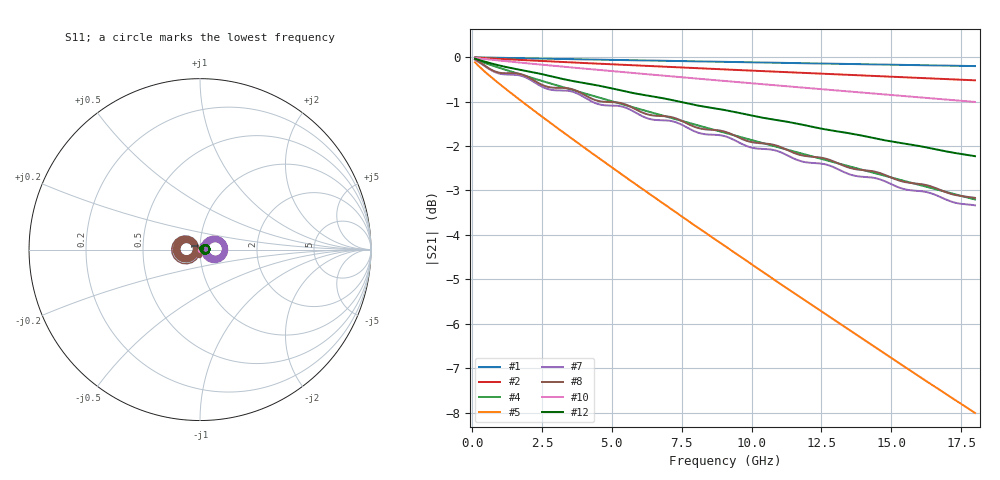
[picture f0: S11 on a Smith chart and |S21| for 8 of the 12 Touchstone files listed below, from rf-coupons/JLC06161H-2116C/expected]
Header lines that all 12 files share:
! stackup JLC06161H-2116C, nominal parameters; reference planes 10 mm from each end; 50 ohm (renormalized from the line's Zc)
! model: 2D quasi-static RLGC (Djordjevic-Sarkar, Huray roughness, Wheeler loss); generated by python -m yapnr.rf.coupons expected
# GHz S DB R 50
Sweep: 100 MHz to 18 GHz
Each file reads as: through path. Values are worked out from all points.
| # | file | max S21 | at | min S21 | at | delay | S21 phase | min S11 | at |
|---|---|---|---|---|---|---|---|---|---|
| 1 | B02-S-line.s2p | 0.00 dB | 100 MHz | -0.2 dB | 18 GHz | 17.2 ps | -57 deg at 9.1 GHz | -77.0 dB | 100 MHz |
| 2 | B03-S-line.s2p | -0.01 dB | 100 MHz | -0.5 dB | 18 GHz | 44.7 ps | -147 deg at 9.1 GHz | -68.7 dB | 100 MHz |
| 3 | B04-S-line.s2p | -0.02 dB | 100 MHz | -1.3 dB | 18 GHz | 110 ps | -3 deg at 9.1 GHz | -65.9 dB | 4.5 GHz |
| 4 | B05-S-line.s2p | -0.05 dB | 100 MHz | -3.2 dB | 18 GHz | 275 ps | 174 deg at 9.1 GHz | -67.3 dB | 1.8 GHz |
| 5 | B06-S-line.s2p | -0.11 dB | 100 MHz | -8.0 dB | 18 GHz | 688 ps | -106 deg at 9.1 GHz | -70.1 dB | 700 MHz |
| 6 | B08-S-verify.s2p | -0.03 dB | 100 MHz | -2.2 dB | 18 GHz | 193 ps | 86 deg at 9.1 GHz | -63.6 dB | 2.6 GHz |
| 7 | B09-S0.7-variant.s2p | -0.06 dB | 100 MHz | -3.3 dB | 18 GHz | 275 ps | 173 deg at 9.1 GHz | -41.0 dB | 1.8 GHz |
| 8 | B10-S1.4-variant.s2p | -0.04 dB | 100 MHz | -3.2 dB | 18 GHz | 275 ps | 174 deg at 9.1 GHz | -41.7 dB | 1.8 GHz |
| 9 | B13-P-line.s2p | -0.01 dB | 100 MHz | -0.4 dB | 18 GHz | 37.4 ps | -123 deg at 9.1 GHz | -69.3 dB | 100 MHz |
| 10 | B14-P-line.s2p | -0.01 dB | 100 MHz | -1.0 dB | 18 GHz | 92.1 ps | 58 deg at 9.1 GHz | -66.5 dB | 5.4 GHz |
| 11 | B15-P-line.s2p | -0.04 dB | 100 MHz | -2.5 dB | 18 GHz | 230 ps | -36 deg at 9.1 GHz | -63.1 dB | 2.2 GHz |
| 12 | B24-PMO-variant.s2p | -0.04 dB | 100 MHz | -2.2 dB | 18 GHz | 219 ps | 1 deg at 9.1 GHz | -48.8 dB | 2.3 GHz |
